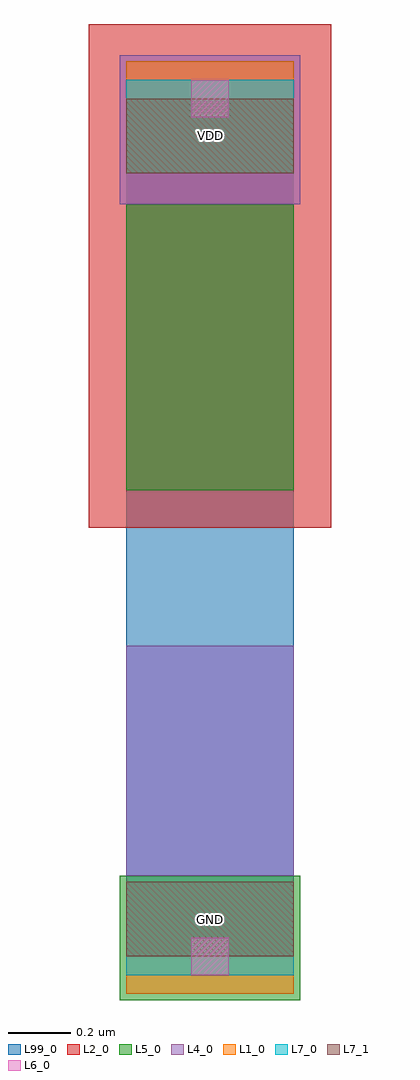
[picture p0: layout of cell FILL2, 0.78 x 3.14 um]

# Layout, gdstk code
import gdstk
lib = gdstk.Library(unit=1e-6, precision=5e-10)
def R(c, l, rs):  # rectangles x0, y0, x1, y1
    for r in rs: c.add(gdstk.rectangle(r[:2], r[2:], *l))
L1_0 = (1, 0)
L2_0 = (2, 0)
L4_0 = (4, 0)
L5_0 = (5, 0)
L6_0 = (6, 0)
L7_0 = (7, 0)
L7_1 = (7, 1)
L99_0 = (99, 0)

fill2 = lib.new_cell('FILL2')
R(fill2, L1_0, [(0,-0.12,0.54,0.24), (0,2.52,0.54,2.88)])
R(fill2, L2_0, [(-0.12,1.38,0.66,3)])
R(fill2, L4_0, [(0,0.26,0.54,1), (-0.02,2.42,0.56,2.9)])
R(fill2, L5_0, [(-0.02,-0.14,0.56,0.26), (0,1.5,0.54,2.42)])
R(fill2, L6_0, [(0.21,-0.06,0.33,0.06), (0.21,2.7,0.33,2.82)])
R(fill2, L7_0, [(0,-0.06,0.54,0.24), (0,2.52,0.54,2.82)])
R(fill2, L7_1, [(0,0,0.54,0.24), (0,2.52,0.54,2.76)])
R(fill2, L99_0, [(0,0,0.54,2.76)])
fill2.add(gdstk.Label('VDD', (0.27,2.64), layer=7, texttype=3))
fill2.add(gdstk.Label('GND', (0.27,0.12), layer=7, texttype=3))

lib.write_gds('FILL2.gds')
